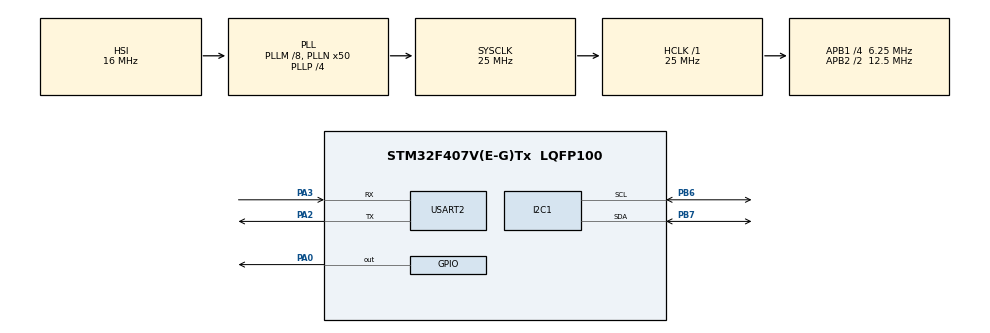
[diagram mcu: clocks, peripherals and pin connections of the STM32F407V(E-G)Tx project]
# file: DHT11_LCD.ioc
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Mcu.Family=STM32F4
Mcu.Name=STM32F407V(E-G)Tx
Mcu.Package=LQFP100
NVIC.PriorityGroup=NVIC_PRIORITYGROUP_0
PA0-WKUP.Signal=GPIO_Output
PA2.Mode=Asynchronous
PA2.Signal=USART2_TX
PA3.Mode=Asynchronous
PA3.Signal=USART2_RX
PB6.Mode=I2C
PB6.Signal=I2C1_SCL
PB7.Mode=I2C
PB7.Signal=I2C1_SDA
PH0-OSC_IN.Mode=HSE-External-Oscillator
PH0-OSC_IN.Signal=RCC_OSC_IN
PH1-OSC_OUT.Mode=HSE-External-Oscillator
PH1-OSC_OUT.Signal=RCC_OSC_OUT
ProjectManager.HeapSize=0x200
ProjectManager.StackSize=0x400
ProjectManager.TargetToolchain=STM32CubeIDE
RCC.48MHZClocksFreq_Value=14285714.285714285
RCC.AHBFreq_Value=25000000
RCC.APB1CLKDivider=RCC_HCLK_DIV4
RCC.APB1Freq_Value=6250000
RCC.APB1TimFreq_Value=12500000
RCC.APB2CLKDivider=RCC_HCLK_DIV2
RCC.APB2Freq_Value=12500000
RCC.APB2TimFreq_Value=25000000
RCC.CortexFreq_Value=25000000
RCC.HCLKFreq_Value=25000000
RCC.HSE_VALUE=8000000
RCC.HSI_VALUE=16000000
RCC.LSE_VALUE=32768
RCC.PLLM=8
RCC.PLLN=50
RCC.PLLP=RCC_PLLP_DIV4
RCC.PLLQ=7
RCC.SYSCLKFreq_VALUE=25000000
RCC.SYSCLKSource=RCC_SYSCLKSOURCE_PLLCLK
RCC.VCOOutputFreq_Value=100000000
USART2.VirtualMode=VM_ASYNC
board=STM32F407G-DISC1

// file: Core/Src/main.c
/* USER CODE BEGIN Header */
/**
  ******************************************************************************
  * @file           : main.c
  * @brief          : Main program body
  ******************************************************************************
  * @attention
  *
  * Copyright (c) 2025 STMicroelectronics.
  * All rights reserved.
  *
  * This software is licensed under terms that can be found in the LICENSE file
  * in the root directory of this software component.
  * If no LICENSE file comes with this software, it is provided AS-IS.
  *
  ******************************************************************************
  */
/* USER CODE END Header */
#include "main.h"

/* USER CODE BEGIN Includes */
#include"my_lcd.h"
#include"dht11.h"
#include<string.h>
#include<stdio.h>
/* USER CODE END Includes */

I2C_HandleTypeDef hi2c1;

UART_HandleTypeDef huart2;

void SystemClock_Config(void);
static void MX_GPIO_Init(void);
static void MX_I2C1_Init(void);
static void MX_USART2_UART_Init(void);

int main(void)
{

  /* MCU Configuration--------------------------------------------------------*/

  /* Reset of all peripherals, Initializes the Flash interface and the Systick. */
  HAL_Init();

  /* USER CODE BEGIN Init */
  DHT11_Init();
  /* USER CODE END Init */

  /* Configure the system clock */
  SystemClock_Config();

  /* Initialize all configured peripherals */
  MX_GPIO_Init();
  MX_I2C1_Init();
  MX_USART2_UART_Init();
  /* USER CODE BEGIN 2 */
  if(!lcd16x2_i2c_init(&hi2c1))
  {
	  while(1);
  }
  lcd16x2_i2c_clear();

  lcd16x2_i2c_setCursor(0, 0);
  lcd16x2_i2c_printf("Hello");
  HAL_Delay(2000);

  lcd16x2_i2c_clear();

  /* USER CODE END 2 */

  /* Infinite loop */
  /* USER CODE BEGIN WHILE */
  char str[100];
  while (1)
  {
    /* USER CODE END WHILE */

    /* USER CODE BEGIN 3 */
//	  lcd16x2_i2c_printf("Sunbeam");

	  uint8_t temp;
	  uint8_t hum;
	  if(DHT11_Read(&temp,&hum)==0)
	  {
//		  lcd16x2_i2c_printf("Sunbeam");

		  snprintf(str, sizeof(str), "Temp = %d 'C \r\n",temp);
		  HAL_UART_Transmit(&huart2,(uint8_t*)str,strlen(str),HAL_MAX_DELAY);
		  lcd16x2_i2c_printf(str);

		  lcd16x2_i2c_setCursor(1, 0);
		  snprintf(str, sizeof(str), "Humidity = %d RH \r\n",hum);
		  HAL_UART_Transmit(&huart2,(uint8_t*)str,strlen(str),HAL_MAX_DELAY);
		  lcd16x2_i2c_printf(str);
	  }
	  else
	  {
		  lcd16x2_i2c_printf("Sunbeam");

		  lcd16x2_i2c_setCursor(0, 0);
		  sprintf(str,"Failed response \r\n");
		  HAL_UART_Transmit(&huart2,(uint8_t*)str,strlen(str),HAL_MAX_DELAY);
		  lcd16x2_i2c_printf("Failed response");

	  }
	  HAL_Delay(1000);
  }
  /* USER CODE END 3 */
}

void SystemClock_Config(void)
{
  RCC_OscInitTypeDef RCC_OscInitStruct = {0};
  RCC_ClkInitTypeDef RCC_ClkInitStruct = {0};

  /** Configure the main internal regulator output voltage
  */
  __HAL_RCC_PWR_CLK_ENABLE();
  __HAL_PWR_VOLTAGESCALING_CONFIG(PWR_REGULATOR_VOLTAGE_SCALE1);

  /** Initializes the RCC Oscillators according to the specified parameters
  * in the RCC_OscInitTypeDef structure.
  */
  RCC_OscInitStruct.OscillatorType = RCC_OSCILLATORTYPE_HSI;
  RCC_OscInitStruct.HSIState = RCC_HSI_ON;
  RCC_OscInitStruct.HSICalibrationValue = RCC_HSICALIBRATION_DEFAULT;
  RCC_OscInitStruct.PLL.PLLState = RCC_PLL_ON;
  RCC_OscInitStruct.PLL.PLLSource = RCC_PLLSOURCE_HSI;
  RCC_OscInitStruct.PLL.PLLM = 8;
  RCC_OscInitStruct.PLL.PLLN = 50;
  RCC_OscInitStruct.PLL.PLLP = RCC_PLLP_DIV4;
  RCC_OscInitStruct.PLL.PLLQ = 7;
  if (HAL_RCC_OscConfig(&RCC_OscInitStruct) != HAL_OK)
  {
    Error_Handler();
  }

  /** Initializes the CPU, AHB and APB buses clocks
  */
  RCC_ClkInitStruct.ClockType = RCC_CLOCKTYPE_HCLK|RCC_CLOCKTYPE_SYSCLK
                              |RCC_CLOCKTYPE_PCLK1|RCC_CLOCKTYPE_PCLK2;
  RCC_ClkInitStruct.SYSCLKSource = RCC_SYSCLKSOURCE_PLLCLK;
  RCC_ClkInitStruct.AHBCLKDivider = RCC_SYSCLK_DIV1;
  RCC_ClkInitStruct.APB1CLKDivider = RCC_HCLK_DIV4;
  RCC_ClkInitStruct.APB2CLKDivider = RCC_HCLK_DIV2;

  if (HAL_RCC_ClockConfig(&RCC_ClkInitStruct, FLASH_LATENCY_0) != HAL_OK)
  {
    Error_Handler();
  }
}

static void MX_I2C1_Init(void)
{

  hi2c1.Instance = I2C1;
  hi2c1.Init.ClockSpeed = 100000;
  hi2c1.Init.DutyCycle = I2C_DUTYCYCLE_2;
  hi2c1.Init.OwnAddress1 = 0;
  hi2c1.Init.AddressingMode = I2C_ADDRESSINGMODE_7BIT;
  hi2c1.Init.DualAddressMode = I2C_DUALADDRESS_DISABLE;
  hi2c1.Init.OwnAddress2 = 0;
  hi2c1.Init.GeneralCallMode = I2C_GENERALCALL_DISABLE;
  hi2c1.Init.NoStretchMode = I2C_NOSTRETCH_DISABLE;
  if (HAL_I2C_Init(&hi2c1) != HAL_OK)
  {
    Error_Handler();
  }

}

static void MX_USART2_UART_Init(void)
{

  huart2.Instance = USART2;
  huart2.Init.BaudRate = 9600;
  huart2.Init.WordLength = UART_WORDLENGTH_8B;
  huart2.Init.StopBits = UART_STOPBITS_1;
  huart2.Init.Parity = UART_PARITY_NONE;
  huart2.Init.Mode = UART_MODE_TX_RX;
  huart2.Init.HwFlowCtl = UART_HWCONTROL_NONE;
  huart2.Init.OverSampling = UART_OVERSAMPLING_16;
  if (HAL_UART_Init(&huart2) != HAL_OK)
  {
    Error_Handler();
  }

}

static void MX_GPIO_Init(void)
{
  GPIO_InitTypeDef GPIO_InitStruct = {0};

  /* GPIO Ports Clock Enable */
  __HAL_RCC_GPIOH_CLK_ENABLE();
  __HAL_RCC_GPIOA_CLK_ENABLE();
  __HAL_RCC_GPIOB_CLK_ENABLE();

  /*Configure GPIO pin Output Level */
  HAL_GPIO_WritePin(GPIOA, GPIO_PIN_0, GPIO_PIN_RESET);

  /*Configure GPIO pin : PA0 */
  GPIO_InitStruct.Pin = GPIO_PIN_0;
  GPIO_InitStruct.Mode = GPIO_MODE_OUTPUT_PP;
  GPIO_InitStruct.Pull = GPIO_NOPULL;
  GPIO_InitStruct.Speed = GPIO_SPEED_FREQ_LOW;
  HAL_GPIO_Init(GPIOA, &GPIO_InitStruct);

}

void Error_Handler(void)
{
  __disable_irq();
  while (1)
  {
  }
}
